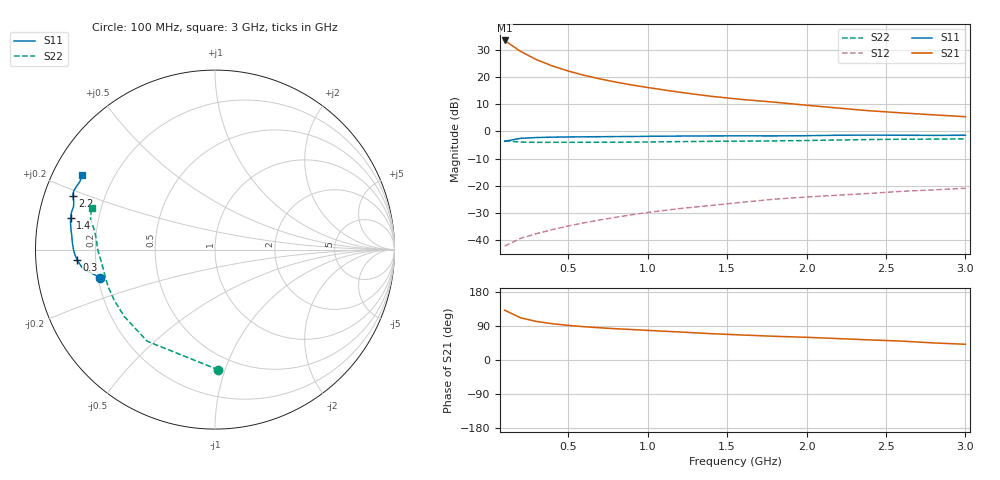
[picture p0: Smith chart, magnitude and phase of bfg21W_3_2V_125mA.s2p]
! Filename: 3_2125bfg21.001
! Title: BFG21W
! Bias: Vce=3.2V; Ic=125mA
! Company: Philips Semiconductors NL
! User: Quality&Reliability T&D
! Measure time: 10 Nov 1999 / 11:43:06
#  MHz  S  MA  R 50
! Freq  S11  S21  S12  S22  :
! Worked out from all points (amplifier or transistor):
!   20 points, 100 MHz to 3 GHz, reference 50 ohm
!   highest |S21| = 33.4 dB at 100 MHz (marker M1)
!   |S21| within 3 dB of that: start of sweep to 174.9 MHz
!   unconditionally stable (mu >= 1): 637 MHz to end of sweep
!   at 400 MHz: K = 0.90, MSG = 30.0 dB, |S12| = -36.1 dB
!   at 1.2 GHz: K = 1.06, MAG = 19.9 dB, |S12| = -28.4 dB
!   at 3 GHz: K = 1.05, MAG = 11.8 dB, |S12| = -20.9 dB
!   S11 on the Smith chart (normalised r, x): 100 MHz: 0.21, -0.12; 300 MHz: 0.13, -0.04; 1.4 GHz: 0.10, +0.11; 2.2 GHz: 0.09, +0.18; 3 GHz: 0.09, +0.26
100  0.6575 -166.2  46.57 131.5  0.007802 57.6  0.6698 -88.4
200  0.7439 -171.8  29.37 111.3  0.01083 54.4  0.635 -126.4
300  0.7698 -175.6  20.71 101.8  0.01322 57.3  0.628 -143.5
400  0.7819 -178.1  15.86 95.8  0.0157 60.9  0.6284 -153.1
500  0.7888 179.8  12.81 91.3  0.01829 63.8  0.6292 -159.2
600  0.7933 178.1  10.69 87.8  0.02093 65.9  0.6298 -163.5
700  0.7973 176.4  9.177 85.0  0.02364 67.7  0.6302 -166.9
800  0.8005 174.9  8.009 82.5  0.02647 69.2  0.6314 -169.7
900  0.805 173.5  7.103 80.4  0.02937 70.7  0.6343 -172.1
1000  0.8101 172.1  6.377 78.2  0.03245 71.4  0.6379 -174.3
1200  0.8184 169.6  5.231 74.0  0.03818 72.2  0.6473 -177.8
1400  0.8238 167.6  4.391 69.4  0.04364 72.5  0.6554 179.3
1600  0.8262 165.3  3.832 65.9  0.05008 72.6  0.6597 176.7
1800  0.8237 163.0  3.428 62.5  0.05692 72.6  0.6672 174.0
2000  0.832 161.1  3.015 59.9  0.06234 73.0  0.6788 171.3
2200  0.8479 159.2  2.672 56.5  0.06729 72.7  0.693 169.0
2400  0.8525 157.4  2.381 53.0  0.07256 71.8  0.707 167.3
2600  0.8482 155.6  2.179 49.9  0.07928 70.7  0.7157 165.7
2800  0.843 153.3  2.007 45.0  0.08423 68.9  0.7196 163.7
3000  0.8473 150.8  1.857 41.5  0.0901 67.9  0.7264 161.2
